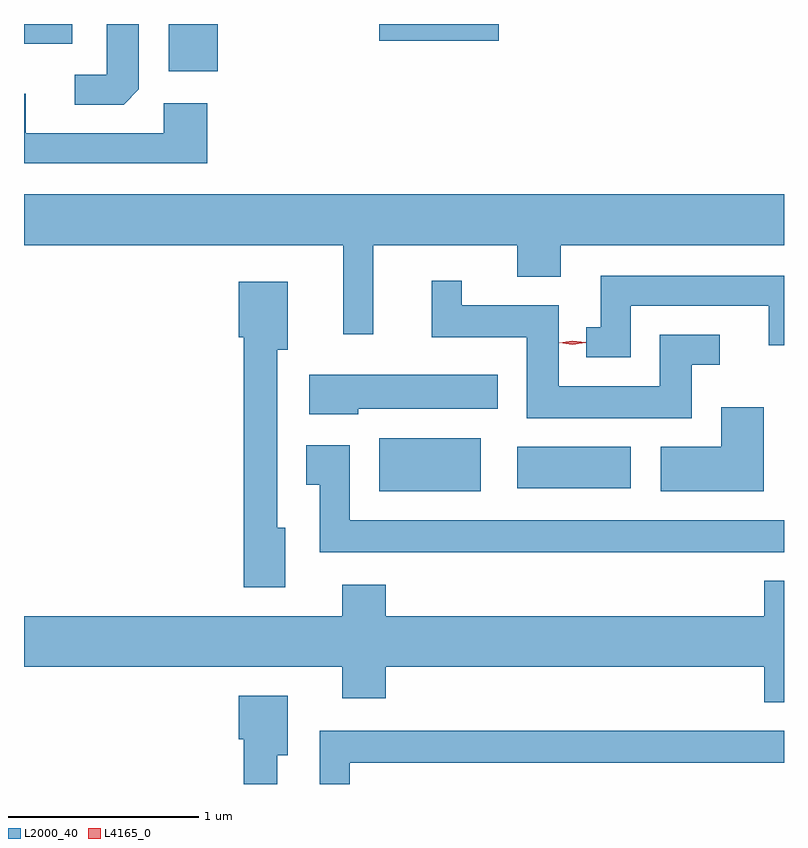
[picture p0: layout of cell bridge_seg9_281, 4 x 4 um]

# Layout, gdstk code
import gdstk
lib = gdstk.Library(unit=1e-6, precision=1e-09)
def R(c, l, rs):  # rectangles x0, y0, x1, y1
    for r in rs: c.add(gdstk.rectangle(r[:2], r[2:], *l))
def P(c, l, *ps):  # polygons
    for p in ps: c.add(gdstk.Polygon(p, *l))
L2000_40 = (2000, 40)
L4165_0 = (4165, 0)

bridge_seg9_281 = lib.new_cell('bridge_seg9_281')
R(bridge_seg9_281, L2000_40, [(987.086,2041.581,987.619,2041.859), (987.811,2041.596,988.409,2041.814), (985.976,2043.791,986.234,2044.04), (985.215,2043.936,985.469,2044.04), (987.086,2043.951,987.714,2044.04)])
P(bridge_seg9_281, L2000_40, [(985.819,2043.697),(985.819,2044.04),(985.651,2044.04),(985.651,2043.774),(985.483,2043.774),(985.483,2043.616),(985.739,2043.616)],
  [(986.179,2043.624),(985.951,2043.624),(985.951,2043.464),(985.224,2043.464),(985.224,2043.673),(985.215,2043.673),(985.215,2043.306),(986.179,2043.306)],
  [(987.054,2042.876),(987.811,2042.876),(987.811,2042.711),(988.039,2042.711),(988.039,2042.876),(989.215,2042.876),(989.215,2043.144),(985.215,2043.144),(985.215,2042.876),(986.896,2042.876),(986.896,2042.408),(987.054,2042.408)],
  [(988.409,2042.556),(989.136,2042.556),(989.136,2042.348),(989.215,2042.348),(989.215,2042.714),(988.251,2042.714),(988.251,2042.444),(988.173,2042.444),(988.173,2042.286),(988.409,2042.286)],
  [(988.729,2042.246),(988.878,2042.246),(988.878,2042.404),(988.561,2042.404),(988.561,2042.134),(988.029,2042.134),(988.029,2042.559),(987.519,2042.559),(987.519,2042.688),(987.361,2042.688),(987.361,2042.391),(987.861,2042.391),(987.861,2041.966),(988.729,2041.966)],
  [(986.589,2041.389),(986.549,2041.389),(986.549,2042.326),(986.604,2042.326),(986.604,2042.684),(986.346,2042.684),(986.346,2042.391),(986.371,2042.391),(986.371,2041.076),(986.589,2041.076)],
  [(986.974,2042.016),(987.709,2042.016),(987.709,2042.194),(986.716,2042.194),(986.716,2041.986),(986.974,2041.986)],
  [(989.109,2042.024),(988.886,2042.024),(988.886,2041.814),(988.566,2041.814),(988.566,2041.581),(989.109,2041.581)],
  [(989.215,2041.429),(986.929,2041.429),(986.929,2041.824),(986.701,2041.824),(986.701,2041.616),(986.771,2041.616),(986.771,2041.261),(989.215,2041.261)],
  [(989.215,2041.109),(989.111,2041.109),(989.111,2040.924),(987.119,2040.924),(987.119,2041.089),(986.891,2041.089),(986.891,2040.924),(985.215,2040.924),(985.215,2040.656),(986.891,2040.656),(986.891,2040.491),(987.119,2040.491),(987.119,2040.656),(989.111,2040.656),(989.111,2040.471),(989.215,2040.471)],
  [(986.549,2040.191),(986.604,2040.191),(986.604,2040.504),(986.346,2040.504),(986.346,2040.276),(986.371,2040.276),(986.371,2040.04),(986.549,2040.04)],
  [(986.929,2040.151),(989.215,2040.151),(989.215,2040.319),(986.771,2040.319),(986.771,2040.04),(986.929,2040.04)])
P(bridge_seg9_281, L4165_0, [(988.101,2042.353),(988.032,2042.362),(988.032,2042.363),(988.032,2042.363),(988.101,2042.373),(988.171,2042.364),(988.171,2042.364),(988.171,2042.363)])

lib.write_gds('bridge_seg9_281.gds')
